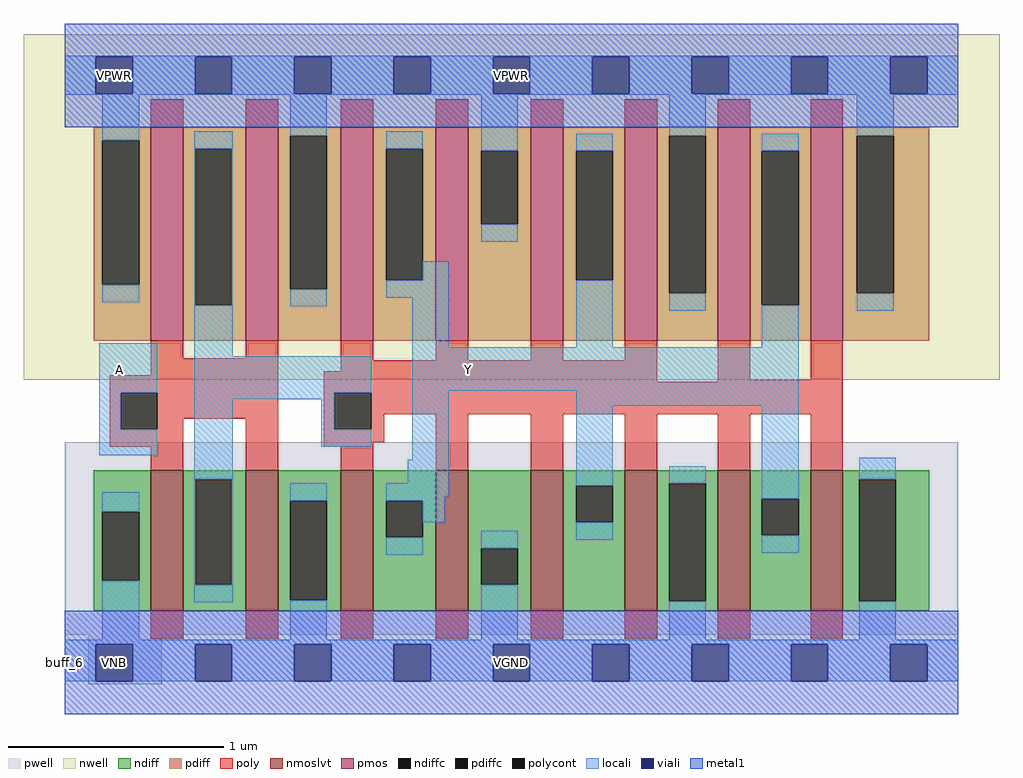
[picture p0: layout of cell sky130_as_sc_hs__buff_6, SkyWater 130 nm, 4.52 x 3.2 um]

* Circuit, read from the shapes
.subckt sky130_as_sc_hs__buff_6 VPB VPWR VGND VNB A Y
XM1 n1 A VGND VNB sky130_fd_pr__nfet_01v8_lvt w=0.65 l=0.15 m=2
XM2 Y n1 VGND VNB sky130_fd_pr__nfet_01v8_lvt w=0.65 l=0.15 m=6
XM3 n1 A VPWR VPB sky130_fd_pr__pfet_01v8 w=0.99 l=0.15 m=2
XM4 Y n1 VPWR VPB sky130_fd_pr__pfet_01v8 w=0.99 l=0.15 m=6
.ends

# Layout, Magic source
magic
tech sky130A
magscale 1 2
<< nwell >>
rect -38 262 866 582
<< pwell >>
rect 0 26 828 204
rect 22 24 90 26
rect 22 22 110 24
rect 168 22 198 24
rect 256 22 286 24
rect 344 22 374 24
rect 432 22 462 24
rect 519 22 549 24
rect 605 22 635 24
rect 691 22 721 24
rect 22 -20 90 22
<< pmos >>
rect 80 298 110 496
rect 168 298 198 496
rect 256 298 286 496
rect 344 298 374 496
rect 432 298 462 496
rect 519 298 549 496
rect 605 298 635 496
rect 691 298 721 496
<< nmoslvt >>
rect 80 48 110 178
rect 168 48 198 178
rect 256 48 286 178
rect 344 48 374 178
rect 432 48 462 178
rect 519 48 549 178
rect 605 48 635 178
rect 691 48 721 178
<< ndiff >>
rect 27 140 80 178
rect 27 76 35 140
rect 69 76 80 140
rect 27 48 80 76
rect 110 170 168 178
rect 110 72 121 170
rect 155 72 168 170
rect 110 48 168 72
rect 198 150 256 178
rect 198 58 209 150
rect 243 58 256 150
rect 198 48 256 58
rect 286 150 344 178
rect 286 116 298 150
rect 332 116 344 150
rect 286 48 344 116
rect 374 106 432 178
rect 374 72 386 106
rect 420 72 432 106
rect 374 48 432 72
rect 462 164 519 178
rect 462 130 474 164
rect 508 130 519 164
rect 462 48 519 130
rect 549 166 605 178
rect 549 57 560 166
rect 594 57 605 166
rect 549 48 605 57
rect 635 152 691 178
rect 635 118 646 152
rect 680 118 691 152
rect 635 48 691 118
rect 721 170 801 178
rect 721 57 736 170
rect 770 57 801 170
rect 721 48 801 57
<< pdiff >>
rect 27 484 80 496
rect 27 350 35 484
rect 69 350 80 484
rect 27 298 80 350
rect 110 476 168 496
rect 110 331 121 476
rect 155 331 168 476
rect 110 298 168 331
rect 198 488 256 496
rect 198 346 209 488
rect 243 346 256 488
rect 198 298 256 346
rect 286 476 344 496
rect 286 354 298 476
rect 332 354 344 476
rect 286 298 344 354
rect 374 474 432 496
rect 374 406 386 474
rect 420 406 432 474
rect 374 298 432 406
rect 462 474 519 496
rect 462 354 474 474
rect 508 354 519 474
rect 462 298 519 354
rect 549 488 605 496
rect 549 342 560 488
rect 594 342 605 488
rect 549 298 605 342
rect 635 474 691 496
rect 635 331 646 474
rect 680 331 691 474
rect 635 298 691 331
rect 721 488 801 496
rect 721 342 734 488
rect 768 342 801 488
rect 721 298 801 342
<< ndiffc >>
rect 35 76 69 140
rect 121 72 155 170
rect 209 58 243 150
rect 298 116 332 150
rect 386 72 420 106
rect 474 130 508 164
rect 560 57 594 166
rect 646 118 680 152
rect 736 57 770 170
<< pdiffc >>
rect 35 350 69 484
rect 121 331 155 476
rect 209 346 243 488
rect 298 354 332 476
rect 386 406 420 474
rect 474 354 508 474
rect 560 342 594 488
rect 646 331 680 474
rect 734 342 768 488
<< poly >>
rect 80 496 110 522
rect 168 496 198 522
rect 256 496 286 522
rect 344 496 374 522
rect 432 496 462 522
rect 519 496 549 522
rect 605 496 635 522
rect 691 496 721 522
rect 80 282 110 298
rect 168 282 198 298
rect 80 266 198 282
rect 256 280 286 298
rect 344 280 374 298
rect 432 280 462 298
rect 519 280 549 298
rect 256 270 549 280
rect 42 250 198 266
rect 42 216 52 250
rect 86 226 198 250
rect 86 216 110 226
rect 42 200 110 216
rect 80 178 110 200
rect 168 178 198 226
rect 240 260 549 270
rect 605 262 635 298
rect 691 262 721 298
rect 605 260 721 262
rect 240 250 721 260
rect 240 216 250 250
rect 284 230 721 250
rect 284 216 296 230
rect 240 204 296 216
rect 240 200 286 204
rect 256 178 286 200
rect 344 178 374 230
rect 432 178 462 230
rect 519 178 549 230
rect 605 178 635 230
rect 691 178 721 230
rect 80 22 110 48
rect 168 22 198 48
rect 256 22 286 48
rect 344 22 374 48
rect 432 22 462 48
rect 519 22 549 48
rect 605 22 635 48
rect 691 22 721 48
<< polycont >>
rect 52 216 86 250
rect 250 216 284 250
<< locali >>
rect 0 561 828 562
rect 0 527 29 561
rect 63 527 121 561
rect 155 527 213 561
rect 247 527 305 561
rect 339 527 397 561
rect 431 527 489 561
rect 523 527 581 561
rect 615 527 673 561
rect 707 527 765 561
rect 799 527 828 561
rect 0 526 828 527
rect 35 484 69 526
rect 35 334 69 350
rect 120 476 156 492
rect 120 331 121 476
rect 155 331 156 476
rect 32 250 86 296
rect 32 216 52 250
rect 32 192 86 216
rect 120 284 156 331
rect 209 488 243 526
rect 209 330 243 346
rect 298 476 332 492
rect 386 474 420 526
rect 386 390 420 406
rect 474 474 508 490
rect 332 354 356 372
rect 298 338 356 354
rect 322 292 356 338
rect 474 292 508 354
rect 560 488 594 526
rect 560 326 594 342
rect 646 474 680 490
rect 646 292 680 331
rect 734 488 768 526
rect 734 326 768 342
rect 120 250 284 284
rect 120 244 250 250
rect 120 170 156 244
rect 238 216 250 244
rect 238 200 284 216
rect 322 252 680 292
rect 322 188 356 252
rect 35 140 69 158
rect 35 21 69 76
rect 120 72 121 170
rect 155 72 156 170
rect 318 166 356 188
rect 120 56 156 72
rect 209 150 243 166
rect 298 154 356 166
rect 474 238 680 252
rect 474 164 508 238
rect 298 150 352 154
rect 332 130 352 150
rect 298 100 332 116
rect 386 106 420 122
rect 474 114 508 130
rect 560 166 594 182
rect 209 21 243 58
rect 386 21 420 72
rect 646 152 680 238
rect 646 102 680 118
rect 736 170 770 190
rect 560 21 594 57
rect 736 21 770 57
rect 0 17 828 21
rect 0 -17 29 17
rect 63 -17 121 17
rect 155 -17 213 17
rect 247 -17 305 17
rect 339 -17 397 17
rect 431 -17 489 17
rect 523 -17 581 17
rect 615 -17 673 17
rect 707 -17 765 17
rect 799 -17 828 17
<< viali >>
rect 29 527 63 561
rect 121 527 155 561
rect 213 527 247 561
rect 305 527 339 561
rect 397 527 431 561
rect 489 527 523 561
rect 581 527 615 561
rect 673 527 707 561
rect 765 527 799 561
rect 29 -17 63 17
rect 121 -17 155 17
rect 213 -17 247 17
rect 305 -17 339 17
rect 397 -17 431 17
rect 489 -17 523 17
rect 581 -17 615 17
rect 673 -17 707 17
rect 765 -17 799 17
<< metal1 >>
rect 0 561 828 592
rect 0 527 29 561
rect 63 527 121 561
rect 155 527 213 561
rect 247 527 305 561
rect 339 527 397 561
rect 431 527 489 561
rect 523 527 581 561
rect 615 527 673 561
rect 707 527 765 561
rect 799 527 828 561
rect 0 496 828 527
rect 0 17 828 48
rect 0 -17 29 17
rect 63 -17 121 17
rect 155 -17 213 17
rect 247 -17 305 17
rect 339 -17 397 17
rect 431 -17 489 17
rect 523 -17 581 17
rect 615 -17 673 17
rect 707 -17 765 17
rect 799 -17 828 17
rect 0 -48 828 -17
<< labels >>
rlabel comment s 0 0 0 0 4 buff_6
flabel pwell s 29 -17 63 17 0 FreeSans 200 0 0 0 VNB
port 4 nsew ground bidirectional
flabel pwell s 46 0 46 0 0 FreeSans 200 0 0 0 VNB
flabel metal1 s 29 527 63 561 0 FreeSans 200 0 0 0 VPWR
port 2 nsew power bidirectional abutment
flabel metal1 s 29 -17 63 17 0 FreeSans 200 0 0 0 VGND
port 3 nsew ground bidirectional abutment
rlabel metal1 s 0 -48 828 48 1 VGND
port 3 nsew ground bidirectional abutment
rlabel metal1 s 0 496 828 592 1 VPWR
port 2 nsew power bidirectional abutment
flabel locali s 34 255 68 289 0 FreeSans 200 0 0 0 A
port 5 nsew signal input
flabel locali s 51 272 51 272 0 FreeSans 200 0 0 0 A
flabel locali 357 255 391 289 0 FreeSans 200 0 0 0 Y
port 6 nsew signal output
flabel locali 374 272 374 272 0 FreeSans 200 0 0 0 Y
flabel nwell s 29 527 63 561 0 FreeSans 200 0 0 0 VPB
port 1 nsew power bidirectional
flabel nwell s 46 544 46 544 0 FreeSans 200 0 0 0 VPB
<< properties >>
string FIXED_BBOX 0 0 828 544
string GDS_FILE $PDKPATH/libs.ref/sky130_as_sc_hs/gds/sky130_as_sc_hs__buff_6.gds
string LEFclass CORE
string LEFsite unithd
string LEFsymmetry X Y R90
string MASKHINTS_LVTN 0 -4 828 216
string MASKHINTS_NSDM 0 -38 828 204
string MASKHINTS_PSDM 0 272 828 582
<< end >>
